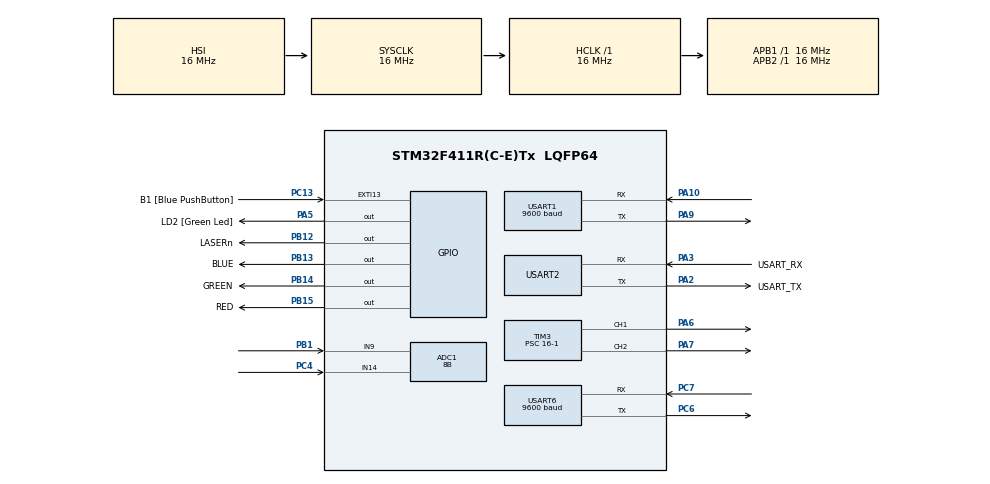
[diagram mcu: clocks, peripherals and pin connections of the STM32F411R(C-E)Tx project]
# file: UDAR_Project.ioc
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ADC1.Channel-0\#ChannelRegularConversion=ADC_CHANNEL_9
ADC1.NbrOfConversionFlag=1
ADC1.Rank-0\#ChannelRegularConversion=1
ADC1.Resolution=ADC_RESOLUTION_8B
ADC1.SamplingTime-0\#ChannelRegularConversion=ADC_SAMPLETIME_15CYCLES
ADC1.ScanConvMode=ENABLE
ADC1.master=1
Mcu.Family=STM32F4
Mcu.Name=STM32F411R(C-E)Tx
Mcu.Package=LQFP64
NVIC.PriorityGroup=NVIC_PRIORITYGROUP_0
NVIC.USART1_IRQn=true\:0\:0\:false\:false\:true\:true\:true\:true
PA10.Mode=Asynchronous
PA10.Signal=USART1_RX
PA13.GPIO_Label=TMS
PA13.Mode=Serial_Wire
PA13.Signal=SYS_JTMS-SWDIO
PA14.GPIO_Label=TCK
PA14.Mode=Serial_Wire
PA14.Signal=SYS_JTCK-SWCLK
PA2.GPIO_Label=USART_TX
PA2.Mode=Asynchronous
PA2.Signal=USART2_TX
PA3.GPIO_Label=USART_RX
PA3.Mode=Asynchronous
PA3.Signal=USART2_RX
PA5.GPIO_Label=LD2 [Green Led]
PA5.Signal=GPIO_Output
PA6.Signal=S_TIM3_CH1
PA7.Signal=S_TIM3_CH2
PA9.Mode=Asynchronous
PA9.Signal=USART1_TX
PB1.Signal=ADCx_IN9
PB12.GPIO_Label=LASERn
PB12.PinState=GPIO_PIN_SET
PB12.Signal=GPIO_Output
PB13.GPIO_Label=BLUE
PB13.Signal=GPIO_Output
PB14.GPIO_Label=GREEN
PB14.Signal=GPIO_Output
PB15.GPIO_Label=RED
PB15.Signal=GPIO_Output
PB3.GPIO_Label=SWO
PB3.Signal=SYS_JTDO-SWO
PC13-ANTI_TAMP.GPIO_Label=B1 [Blue PushButton]
PC13-ANTI_TAMP.Signal=GPXTI13
PC14-OSC32_IN.Mode=LSE-External-Oscillator
PC14-OSC32_IN.Signal=RCC_OSC32_IN
PC15-OSC32_OUT.Mode=LSE-External-Oscillator
PC15-OSC32_OUT.Signal=RCC_OSC32_OUT
PC4.Signal=ADCx_IN14
PC6.Mode=Asynchronous
PC6.Signal=USART6_TX
PC7.Mode=Asynchronous
PC7.Signal=USART6_RX
PH0\ -\ OSC_IN.Mode=HSE-External-Clock-Source
PH0\ -\ OSC_IN.Signal=RCC_OSC_IN
PH1\ -\ OSC_OUT.Mode=HSE-External-Clock-Source
PH1\ -\ OSC_OUT.Signal=RCC_OSC_OUT
ProjectManager.HeapSize=0x200
ProjectManager.StackSize=0x400
ProjectManager.TargetToolchain=STM32CubeIDE
RCC.48MHZClocksFreq_Value=84000000
RCC.AHBFreq_Value=16000000
RCC.APB1Freq_Value=16000000
RCC.APB1TimFreq_Value=16000000
RCC.APB2Freq_Value=16000000
RCC.APB2TimFreq_Value=16000000
RCC.CortexFreq_Value=16000000
RCC.FLatency-AdvancedSettings=FLASH_LATENCY_0
RCC.HCLKFreq_Value=16000000
RCC.HSE_VALUE=8000000
RCC.HSI_VALUE=16000000
RCC.PLLN=336
RCC.PLLP=RCC_PLLP_DIV4
RCC.SYSCLKFreq_VALUE=16000000
RCC.VCOOutputFreq_Value=336000000
SH.ADCx_IN14.0=ADC1_IN14,IN14
SH.ADCx_IN9.0=ADC1_IN9,IN9
SH.S_TIM3_CH1.0=TIM3_CH1,PWM Generation1 CH1
SH.S_TIM3_CH2.0=TIM3_CH2,PWM Generation2 CH2
TIM3.AutoReloadPreload=TIM_AUTORELOAD_PRELOAD_ENABLE
TIM3.Channel-PWM\ Generation1\ CH1=TIM_CHANNEL_1
TIM3.Channel-PWM\ Generation2\ CH2=TIM_CHANNEL_2
TIM3.Period=20000-1
TIM3.Prescaler=16-1
TIM3.Pulse-PWM\ Generation1\ CH1=500-1
TIM3.Pulse-PWM\ Generation2\ CH2=2500-1
USART1.BaudRate=9600
USART1.VirtualMode=VM_ASYNC
USART2.VirtualMode=VM_ASYNC
USART6.BaudRate=9600
USART6.Mode=MODE_TX_RX
USART6.VirtualMode=VM_ASYNC
VP_TIM3_VS_ClockSourceINT.Mode=Internal
board=NUCLEO-F411RE

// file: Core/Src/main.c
/* USER CODE BEGIN Header */
/**
 ******************************************************************************
 * @file           : main.c
 * @brief          : Main program body
 ******************************************************************************
 * @attention
 *
 * Copyright (c) 2022 STMicroelectronics.
 * All rights reserved.
 *
 * This software is licensed under terms that can be found in the LICENSE file
 * in the root directory of this software component.
 * If no LICENSE file comes with this software, it is provided AS-IS.
 *
 ******************************************************************************
 */
/* USER CODE END Header */
#include "main.h"

/* USER CODE BEGIN Includes */
#include <string.h>
#include <stdio.h>
/* USER CODE END Includes */

/* USER CODE BEGIN PD */
uint8_t msg_buffer[64] = { 0 };
volatile uint8_t byte[2] = { 0 };
uint8_t test = 0x55;
volatile uint16_t distance = 0;
/* USER CODE END PD */

ADC_HandleTypeDef hadc1;

TIM_HandleTypeDef htim3;

UART_HandleTypeDef huart1;
UART_HandleTypeDef huart2;
UART_HandleTypeDef huart6;

void SystemClock_Config(void);
static void MX_GPIO_Init(void);
static void MX_USART2_UART_Init(void);
static void MX_USART1_UART_Init(void);
static void MX_USART6_UART_Init(void);
static void MX_ADC1_Init(void);
static void MX_TIM3_Init(void);
int take_measure = 0;		// 0 - means no object   1 - means ys object
int first = 0;
int second = 0;
/* USER CODE BEGIN PFP */
static void ADC_Select_CH(int CH);

/* USER CODE END PFP */

/* USER CODE BEGIN 0 */
uint8_t rcv_intpt_flag = 0;
static void ADC_Select_CH(int CH) {
	ADC_ChannelConfTypeDef sConfig = { 0 };
	switch (CH) {
	case 0:
		sConfig.Channel = ADC_CHANNEL_0;
		sConfig.Rank = 1;
		if (HAL_ADC_ConfigChannel(&hadc1, &sConfig) != HAL_OK) {
			Error_Handler();
		}
		break;
	case 1:
		sConfig.Channel = ADC_CHANNEL_1;
		sConfig.Rank = 1;
		if (HAL_ADC_ConfigChannel(&hadc1, &sConfig) != HAL_OK) {
			Error_Handler();
		}
		break;
	case 2:
		sConfig.Channel = ADC_CHANNEL_2;
		sConfig.Rank = 1;
		if (HAL_ADC_ConfigChannel(&hadc1, &sConfig) != HAL_OK) {
			Error_Handler();
		}
		break;
	case 3:
		sConfig.Channel = ADC_CHANNEL_3;
		sConfig.Rank = 1;
		if (HAL_ADC_ConfigChannel(&hadc1, &sConfig) != HAL_OK) {
			Error_Handler();
		}
		break;
	case 4:
		sConfig.Channel = ADC_CHANNEL_4;
		sConfig.Rank = 1;
		if (HAL_ADC_ConfigChannel(&hadc1, &sConfig) != HAL_OK) {
			Error_Handler();
		}
		break;
	case 5:
		sConfig.Channel = ADC_CHANNEL_5;
		sConfig.Rank = 1;
		if (HAL_ADC_ConfigChannel(&hadc1, &sConfig) != HAL_OK) {
			Error_Handler();
		}
		break;
	case 6:
		sConfig.Channel = ADC_CHANNEL_6;
		sConfig.Rank = 1;
		if (HAL_ADC_ConfigChannel(&hadc1, &sConfig) != HAL_OK) {
			Error_Handler();
		}
		break;
	case 7:
		sConfig.Channel = ADC_CHANNEL_7;
		sConfig.Rank = 1;
		if (HAL_ADC_ConfigChannel(&hadc1, &sConfig) != HAL_OK) {
			Error_Handler();
		}
		break;
	case 8:
		sConfig.Channel = ADC_CHANNEL_8;
		sConfig.Rank = 1;
		if (HAL_ADC_ConfigChannel(&hadc1, &sConfig) != HAL_OK) {
			Error_Handler();
		}
		break;
	case 9:
		sConfig.Channel = ADC_CHANNEL_9;
		sConfig.Rank = 1;
		if (HAL_ADC_ConfigChannel(&hadc1, &sConfig) != HAL_OK) {
			Error_Handler();
		}
		break;
	case 10:
		sConfig.Channel = ADC_CHANNEL_10;
		sConfig.Rank = 1;
		if (HAL_ADC_ConfigChannel(&hadc1, &sConfig) != HAL_OK) {
			Error_Handler();
		}
		break;
	case 11:
		sConfig.Channel = ADC_CHANNEL_11;
		sConfig.Rank = 1;
		if (HAL_ADC_ConfigChannel(&hadc1, &sConfig) != HAL_OK) {
			Error_Handler();
		}
		break;
	case 12:
		sConfig.Channel = ADC_CHANNEL_12;
		sConfig.Rank = 1;
		if (HAL_ADC_ConfigChannel(&hadc1, &sConfig) != HAL_OK) {
			Error_Handler();
		}
		break;
	case 13:
		sConfig.Channel = ADC_CHANNEL_13;
		sConfig.Rank = 1;
		if (HAL_ADC_ConfigChannel(&hadc1, &sConfig) != HAL_OK) {
			Error_Handler();
		}
		break;
	case 14:
		sConfig.Channel = ADC_CHANNEL_14;
		sConfig.Rank = 1;
		if (HAL_ADC_ConfigChannel(&hadc1, &sConfig) != HAL_OK) {
			Error_Handler();
		}
		break;
	case 15:
		sConfig.Channel = ADC_CHANNEL_15;
		sConfig.Rank = 1;
		if (HAL_ADC_ConfigChannel(&hadc1, &sConfig) != HAL_OK) {
			Error_Handler();
		}
		break;
	}
}

/* USER CODE END 0 */

int main(void) {

	/* MCU Configuration--------------------------------------------------------*/

	/* Reset of all peripherals, Initializes the Flash interface and the Systick. */
	HAL_Init();

	/* Configure the system clock */
	SystemClock_Config();

	/* Initialize all configured peripherals */
	MX_GPIO_Init();
	MX_USART2_UART_Init();
	MX_USART1_UART_Init();
	MX_USART6_UART_Init();
	MX_ADC1_Init();
	MX_TIM3_Init();
	/* USER CODE BEGIN 2 */
	int TIM3_Ch1_DCVAL = 1500;
	int TIM3_Ch2_DCVAL = 1500;
	HAL_TIM_Base_Start(&htim3);
	HAL_TIM_PWM_Start(&htim3, TIM_CHANNEL_1);
	HAL_TIM_PWM_Start(&htim3, TIM_CHANNEL_2);
	TIM3->PSC = 16 - 1;
	TIM3->ARR = 20000 - 1;
	TIM3->CCR1 = TIM3_Ch1_DCVAL;
	TIM3->CCR2 = TIM3_Ch1_DCVAL;
	int mode = 0; // 0 auto, 1 manual

	int object_count = 0;
	int degree_to_center = 0;
	int angular_width = 0;
	int pov = 0;

	/* USER CODE END 2 */

	/* Infinite loop */
	/* USER CODE BEGIN WHILE */

	TIM3_Ch1_DCVAL = (1500);
	TIM3_Ch2_DCVAL = (500);

	while (1) {
		/* USER CODE END WHILE */

		/* USER CODE BEGIN 3 */
		// AUTO
		mode = HAL_GPIO_ReadPin(GPIOC, B1_Pin);

		if (mode == 1) {
			TIM3->CCR1 = TIM3_Ch1_DCVAL;
			TIM3->CCR2 = TIM3_Ch2_DCVAL;

			while (TIM3_Ch2_DCVAL <= 2500) {
				if (distance > 1000) {	// No object detected
					HAL_GPIO_WritePin(GPIOB, BLUE_Pin | GREEN_Pin | RED_Pin,
							GPIO_PIN_RESET);
					HAL_GPIO_WritePin(GPIOB, GREEN_Pin, GPIO_PIN_SET);
					if (take_measure == 1) {	// FLAG that makes it read once
						second = TIM3_Ch2_DCVAL;
						TIM3->CCR2 = (first + second) / 2;
						object_count++;
						// SET UP LASER, have a for loop 0 -> 3
						// Turn laser on wait 250 turn off wait 250
						// can get rid of that delasy

						int w = 0;
						for (w; w < 3; w++) {
							HAL_GPIO_WritePin(LASERn_GPIO_Port, LASERn_Pin,
									GPIO_PIN_RESET);
							HAL_Delay(200);
							HAL_GPIO_WritePin(LASERn_GPIO_Port, LASERn_Pin,
									GPIO_PIN_SET);
							HAL_Delay(200);
						}

						//setting the right values for the print statement
						degree_to_center = ((((first + second) / 2) / 20) * 1.8)
								- 135;
						pov = 1900 - 1140 - 211;
						angular_width = second - first - pov;

						//printing the values
						sprintf((char*) msg_buffer,
								"\r\n Object #:%d  Degree:%d  Distance:%d  Angular-Width:%d\n",
								object_count, degree_to_center, distance,
								angular_width);
						HAL_UART_Transmit(&huart6, msg_buffer,
								strlen((char*) msg_buffer), 500);
					}
					take_measure = 0;
				}
				TIM3_Ch2_DCVAL += 20;
				HAL_Delay(200);
				TIM3->CCR2 = TIM3_Ch2_DCVAL;
				HAL_UART_Receive_IT(&huart1, &byte, 2);
				HAL_UART_Transmit(&huart1, &test, 1, 500);
				while (rcv_intpt_flag == (00)) {
				};
				distance = (byte[0] << 8) + byte[1];

				if (distance < 1000) {	// object sensed
					HAL_GPIO_WritePin(GPIOB, BLUE_Pin | GREEN_Pin | RED_Pin,
							GPIO_PIN_RESET);
					HAL_GPIO_WritePin(GPIOB, RED_Pin, GPIO_PIN_SET);

					if (take_measure == 0) {	// FLAG that makes it read once
						first = TIM3_Ch2_DCVAL;
					}
					take_measure = 1;
				}

				rcv_intpt_flag = 00;
			}

		}
		// MANUAL
		else if (mode == 0) {
			//set the intial postion
			TIM3_Ch1_DCVAL = (1500);
			TIM3_Ch2_DCVAL = (1500);
			TIM3->CCR1 = TIM3_Ch1_DCVAL;
			TIM3->CCR2 = TIM3_Ch2_DCVAL;
			//turn the led off
			HAL_GPIO_WritePin(LASERn_GPIO_Port, LASERn_Pin, GPIO_PIN_SET);

			while (1) {

				//----------------------------testing the analog stick

				//BLUE RGB
				/*Configure GPIO pin Output Level */
				HAL_GPIO_WritePin(GPIOB, BLUE_Pin | GREEN_Pin | RED_Pin,
						GPIO_PIN_RESET);
				/*Configure GPIO pin Output Level */
				HAL_GPIO_WritePin(GPIOB, BLUE_Pin, GPIO_PIN_SET);
				HAL_Delay(200);

				//GREEN RGB
				HAL_GPIO_WritePin(GPIOB, BLUE_Pin | GREEN_Pin | RED_Pin,
						GPIO_PIN_RESET);
				/*Configure GPIO pin Output Level */
				HAL_GPIO_WritePin(GPIOB, GREEN_Pin, GPIO_PIN_SET);
				HAL_Delay(200);

				//RED RGB
				HAL_GPIO_WritePin(GPIOB, BLUE_Pin | GREEN_Pin | RED_Pin,
						GPIO_PIN_RESET);
				/*Configure GPIO pin Output Level */
				HAL_GPIO_WritePin(GPIOB, RED_Pin, GPIO_PIN_SET);
				HAL_Delay(200);

				//---------------------------------------------------------------

				//read the joystick values
				ADC_Select_CH(9);
				HAL_ADC_Start(&hadc1);
				HAL_ADC_PollForConversion(&hadc1, 1000);
				uint8_t ADC_CH9 = HAL_ADC_GetValue(&hadc1);
//				sprintf((char*) msg_buffer,
//						"\r\n Digitized Analog Value for Y: %d", ADC_CH9);
//				HAL_UART_Transmit(&huart6, msg_buffer,
//						strlen((char*) msg_buffer), 500);
				HAL_ADC_Stop(&hadc1);

				ADC_Select_CH(14);
				HAL_ADC_Start(&hadc1);
				HAL_ADC_PollForConversion(&hadc1, 1000);
				uint8_t ADC_CH14 = HAL_ADC_GetValue(&hadc1);
//				sprintf((char*) msg_buffer,
//						"\r\n Digitized Analog Value for X: %d\n\n", ADC_CH14);
				HAL_ADC_Stop(&hadc1);

				HAL_UART_Receive_IT(&huart1, &byte, 2);
				HAL_UART_Transmit(&huart1, &test, 1, 500);
				while (rcv_intpt_flag == (00)) {
				};
				distance = (byte[0] << 8) + byte[1];
				sprintf((char) msg_buffer, "\r\n Distance Sensed (mm)= %d",
						distance);
				HAL_UART_Transmit(&huart6, msg_buffer,
						strlen((char) msg_buffer), 500);
				rcv_intpt_flag = 00;

				//------------------------------------------------------------

				//if the servo in the right range
				if (TIM3_Ch2_DCVAL <= 2500 && TIM3_Ch2_DCVAL >= 500) {
					//MOVEMENT FOR THE TILT
					if (ADC_CH9 < 69) {
						TIM3_Ch1_DCVAL -= 40;
					} else if (ADC_CH9 < 120) {
						TIM3_Ch1_DCVAL -= 20;
					} else if (ADC_CH9 < 140) {
						TIM3_Ch1_DCVAL += 0;
					} else if (ADC_CH9 < 181) {
						TIM3_Ch1_DCVAL += 40;
					} else if (ADC_CH9 < 256) {
						TIM3_Ch1_DCVAL += 20;
					}

					//MOVEMENT FOR THE PAN

					//------------------------------------------------------
					if (ADC_CH14 < 69) {
						TIM3_Ch2_DCVAL -= 40;
					} else if (ADC_CH14 < 120) {
						TIM3_Ch2_DCVAL -= 20;
					} else if (ADC_CH14 < 144) {
						TIM3_Ch2_DCVAL += 0;
					} else if (ADC_CH14 < 181) {
						TIM3_Ch2_DCVAL += 40;
					} else if (ADC_CH14 < 256) {
						TIM3_Ch2_DCVAL += 20;
					}

				} else {
					if (TIM3_Ch2_DCVAL > 2500) {
						TIM3_Ch2_DCVAL = 2500;
					} else if (TIM3_Ch2_DCVAL < 500) {
						TIM3_Ch2_DCVAL = 500;
					}
				}
				//set the values of the server
				TIM3->CCR1 = TIM3_Ch1_DCVAL;
				TIM3->CCR2 = TIM3_Ch2_DCVAL;
//			HAL_Delay(200);

//GET THE UART SENSOR VALUES AND PRINT TO PUTTY
//				HAL_UART_Receive_IT(&huart1, &byte, 2);
//				HAL_UART_Transmit(&huart1, &test, 1, 500);
//				while (rcv_intpt_flag == (00)) {
//				};
//				distance = (byte[0] << 8) + byte[1];
//				sprintf((char) msg_buffer, "\r\n Distance Sensed (mm)= %d",
//						distance);
//				HAL_UART_Transmit(&huart6, msg_buffer,
//						strlen((char) msg_buffer), 500);
//				rcv_intpt_flag = 00;

			};

		}

	}

}
/* USER CODE END 3 */

void SystemClock_Config(void) {
	RCC_OscInitTypeDef RCC_OscInitStruct = { 0 };
	RCC_ClkInitTypeDef RCC_ClkInitStruct = { 0 };

	/** Configure the main internal regulator output voltage
	 */
	__HAL_RCC_PWR_CLK_ENABLE();
	__HAL_PWR_VOLTAGESCALING_CONFIG(PWR_REGULATOR_VOLTAGE_SCALE1);

	/** Initializes the RCC Oscillators according to the specified parameters
	 * in the RCC_OscInitTypeDef structure.
	 */
	RCC_OscInitStruct.OscillatorType = RCC_OSCILLATORTYPE_HSI;
	RCC_OscInitStruct.HSIState = RCC_HSI_ON;
	RCC_OscInitStruct.HSICalibrationValue = RCC_HSICALIBRATION_DEFAULT;
	RCC_OscInitStruct.PLL.PLLState = RCC_PLL_NONE;
	if (HAL_RCC_OscConfig(&RCC_OscInitStruct) != HAL_OK) {
		Error_Handler();
	}

	/** Initializes the CPU, AHB and APB buses clocks
	 */
	RCC_ClkInitStruct.ClockType = RCC_CLOCKTYPE_HCLK | RCC_CLOCKTYPE_SYSCLK
			| RCC_CLOCKTYPE_PCLK1 | RCC_CLOCKTYPE_PCLK2;
	RCC_ClkInitStruct.SYSCLKSource = RCC_SYSCLKSOURCE_HSI;
	RCC_ClkInitStruct.AHBCLKDivider = RCC_SYSCLK_DIV1;
	RCC_ClkInitStruct.APB1CLKDivider = RCC_HCLK_DIV1;
	RCC_ClkInitStruct.APB2CLKDivider = RCC_HCLK_DIV1;

	if (HAL_RCC_ClockConfig(&RCC_ClkInitStruct, FLASH_LATENCY_0) != HAL_OK) {
		Error_Handler();
	}
}

static void MX_ADC1_Init(void) {

	ADC_ChannelConfTypeDef sConfig = { 0 };

	/** Configure the global features of the ADC (Clock, Resolution, Data Alignment and number of conversion)
	 */
	hadc1.Instance = ADC1;
	hadc1.Init.ClockPrescaler = ADC_CLOCK_SYNC_PCLK_DIV2;
	hadc1.Init.Resolution = ADC_RESOLUTION_8B;
	hadc1.Init.ScanConvMode = ENABLE;
	hadc1.Init.ContinuousConvMode = DISABLE;
	hadc1.Init.DiscontinuousConvMode = DISABLE;
	hadc1.Init.ExternalTrigConvEdge = ADC_EXTERNALTRIGCONVEDGE_NONE;
	hadc1.Init.ExternalTrigConv = ADC_SOFTWARE_START;
	hadc1.Init.DataAlign = ADC_DATAALIGN_RIGHT;
	hadc1.Init.NbrOfConversion = 1;
	hadc1.Init.DMAContinuousRequests = DISABLE;
	hadc1.Init.EOCSelection = ADC_EOC_SINGLE_CONV;
	if (HAL_ADC_Init(&hadc1) != HAL_OK) {
		Error_Handler();
	}

	/** Configure for the selected ADC regular channel its corresponding rank in the sequencer and its sample time.
	 */
	sConfig.Channel = ADC_CHANNEL_9;
	sConfig.Rank = 1;
	sConfig.SamplingTime = ADC_SAMPLETIME_15CYCLES;
	if (HAL_ADC_ConfigChannel(&hadc1, &sConfig) != HAL_OK) {
		Error_Handler();
	}

}

static void MX_TIM3_Init(void) {

	TIM_ClockConfigTypeDef sClockSourceConfig = { 0 };
	TIM_MasterConfigTypeDef sMasterConfig = { 0 };
	TIM_OC_InitTypeDef sConfigOC = { 0 };

	htim3.Instance = TIM3;
	htim3.Init.Prescaler = 16 - 1;
	htim3.Init.CounterMode = TIM_COUNTERMODE_UP;
	htim3.Init.Period = 20000 - 1;
	htim3.Init.ClockDivision = TIM_CLOCKDIVISION_DIV1;
	htim3.Init.AutoReloadPreload = TIM_AUTORELOAD_PRELOAD_ENABLE;
	if (HAL_TIM_Base_Init(&htim3) != HAL_OK) {
		Error_Handler();
	}
	sClockSourceConfig.ClockSource = TIM_CLOCKSOURCE_INTERNAL;
	if (HAL_TIM_ConfigClockSource(&htim3, &sClockSourceConfig) != HAL_OK) {
		Error_Handler();
	}
	if (HAL_TIM_PWM_Init(&htim3) != HAL_OK) {
		Error_Handler();
	}
	sMasterConfig.MasterOutputTrigger = TIM_TRGO_RESET;
	sMasterConfig.MasterSlaveMode = TIM_MASTERSLAVEMODE_DISABLE;
	if (HAL_TIMEx_MasterConfigSynchronization(&htim3, &sMasterConfig)
			!= HAL_OK) {
		Error_Handler();
	}
	sConfigOC.OCMode = TIM_OCMODE_PWM1;
	sConfigOC.Pulse = 500 - 1;
	sConfigOC.OCPolarity = TIM_OCPOLARITY_HIGH;
	sConfigOC.OCFastMode = TIM_OCFAST_DISABLE;
	if (HAL_TIM_PWM_ConfigChannel(&htim3, &sConfigOC, TIM_CHANNEL_1)
			!= HAL_OK) {
		Error_Handler();
	}
	sConfigOC.Pulse = 2500 - 1;
	if (HAL_TIM_PWM_ConfigChannel(&htim3, &sConfigOC, TIM_CHANNEL_2)
			!= HAL_OK) {
		Error_Handler();
	}
	HAL_TIM_MspPostInit(&htim3);

}

static void MX_USART1_UART_Init(void) {

	huart1.Instance = USART1;
	huart1.Init.BaudRate = 9600;
	huart1.Init.WordLength = UART_WORDLENGTH_8B;
	huart1.Init.StopBits = UART_STOPBITS_1;
	huart1.Init.Parity = UART_PARITY_NONE;
	huart1.Init.Mode = UART_MODE_TX_RX;
	huart1.Init.HwFlowCtl = UART_HWCONTROL_NONE;
	huart1.Init.OverSampling = UART_OVERSAMPLING_16;
	if (HAL_UART_Init(&huart1) != HAL_OK) {
		Error_Handler();
	}

}

static void MX_USART2_UART_Init(void) {

	huart2.Instance = USART2;
	huart2.Init.BaudRate = 115200;
	huart2.Init.WordLength = UART_WORDLENGTH_8B;
	huart2.Init.StopBits = UART_STOPBITS_1;
	huart2.Init.Parity = UART_PARITY_NONE;
	huart2.Init.Mode = UART_MODE_TX_RX;
	huart2.Init.HwFlowCtl = UART_HWCONTROL_NONE;
	huart2.Init.OverSampling = UART_OVERSAMPLING_16;
	if (HAL_UART_Init(&huart2) != HAL_OK) {
		Error_Handler();
	}

}

static void MX_USART6_UART_Init(void) {

	huart6.Instance = USART6;
	huart6.Init.BaudRate = 9600;
	huart6.Init.WordLength = UART_WORDLENGTH_8B;
	huart6.Init.StopBits = UART_STOPBITS_1;
	huart6.Init.Parity = UART_PARITY_NONE;
	huart6.Init.Mode = UART_MODE_TX_RX;
	huart6.Init.HwFlowCtl = UART_HWCONTROL_NONE;
	huart6.Init.OverSampling = UART_OVERSAMPLING_16;
	if (HAL_UART_Init(&huart6) != HAL_OK) {
		Error_Handler();
	}

}

static void MX_GPIO_Init(void) {
	GPIO_InitTypeDef GPIO_InitStruct = { 0 };

	/* GPIO Ports Clock Enable */
	__HAL_RCC_GPIOC_CLK_ENABLE();
	__HAL_RCC_GPIOH_CLK_ENABLE();
	__HAL_RCC_GPIOA_CLK_ENABLE();
	__HAL_RCC_GPIOB_CLK_ENABLE();

	/*Configure GPIO pin Output Level */
	HAL_GPIO_WritePin(LD2_GPIO_Port, LD2_Pin, GPIO_PIN_RESET);

	/*Configure GPIO pin Output Level */
	HAL_GPIO_WritePin(LASERn_GPIO_Port, LASERn_Pin, GPIO_PIN_SET);

	/*Configure GPIO pin Output Level */
	HAL_GPIO_WritePin(GPIOB, BLUE_Pin | GREEN_Pin | RED_Pin, GPIO_PIN_RESET);

	/*Configure GPIO pin : B1_Pin */
	GPIO_InitStruct.Pin = B1_Pin;
	GPIO_InitStruct.Mode = GPIO_MODE_IT_RISING;
	GPIO_InitStruct.Pull = GPIO_NOPULL;
	HAL_GPIO_Init(B1_GPIO_Port, &GPIO_InitStruct);

	/*Configure GPIO pin : LD2_Pin */
	GPIO_InitStruct.Pin = LD2_Pin;
	GPIO_InitStruct.Mode = GPIO_MODE_OUTPUT_PP;
	GPIO_InitStruct.Pull = GPIO_NOPULL;
	GPIO_InitStruct.Speed = GPIO_SPEED_FREQ_LOW;
	HAL_GPIO_Init(LD2_GPIO_Port, &GPIO_InitStruct);

	/*Configure GPIO pins : LASERn_Pin BLUE_Pin GREEN_Pin RED_Pin */
	GPIO_InitStruct.Pin = LASERn_Pin | BLUE_Pin | GREEN_Pin | RED_Pin;
	GPIO_InitStruct.Mode = GPIO_MODE_OUTPUT_PP;
	GPIO_InitStruct.Pull = GPIO_NOPULL;
	GPIO_InitStruct.Speed = GPIO_SPEED_FREQ_LOW;
	HAL_GPIO_Init(GPIOB, &GPIO_InitStruct);

}

/* USER CODE BEGIN 4 */
void HAL_UART_RxCpltCallback(UART_HandleTypeDef *huart) {
	if (huart->Instance == USART1) {
		rcv_intpt_flag = 1;
	}
}

/* USER CODE END 4 */

void Error_Handler(void) {
	__disable_irq();
	while (1) {
	}
}
